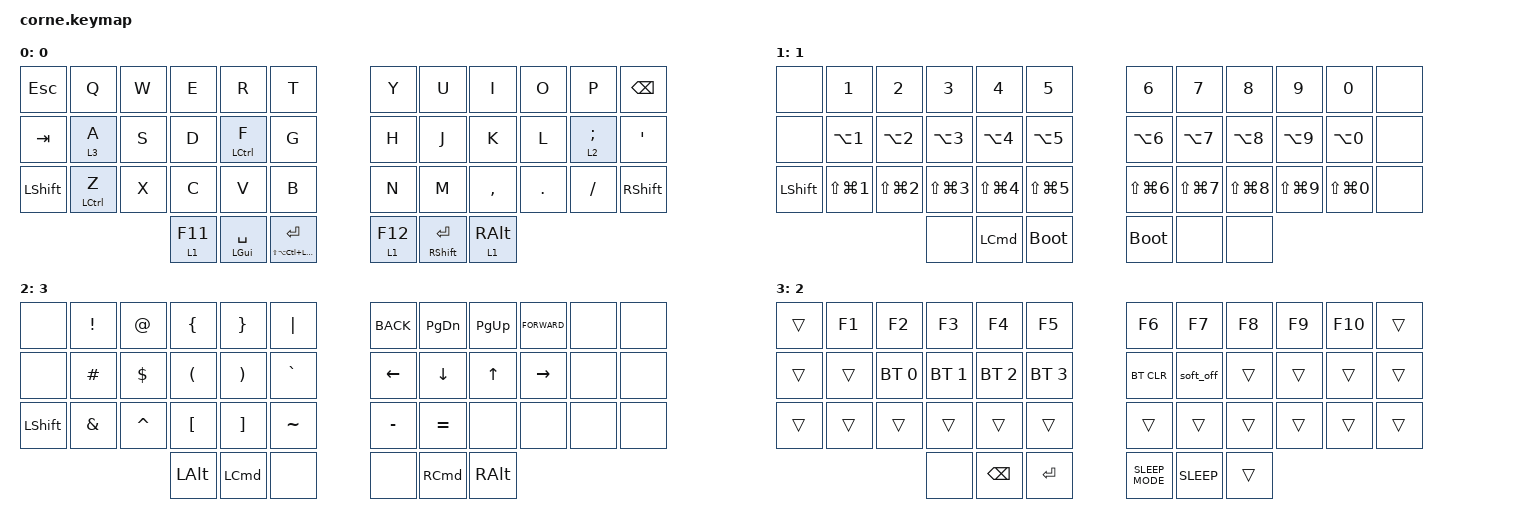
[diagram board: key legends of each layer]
/*
 * Copyright (c) 2020 The ZMK Contributors
 *
 * SPDX-License-Identifier: MIT
 */

#include <behaviors.dtsi>
#include <dt-bindings/zmk/bt.h>
#include <dt-bindings/zmk/keys.h>

#define DEFAULT_L 0
#define SYMBOLS_L 1
#define ARROWS_L  2
#define NUMBERS_L 3

/ {
    behaviors {
        hm: homerow_mods {
            compatible = "zmk,behavior-hold-tap";
            label = "HOMEROW_MODS";
            #binding-cells = <2>;
            tapping-term-ms = <300>;
            quick-tap-ms = <200>;
            flavor = "tap-preferred";
            bindings = <&kp>, <&kp>;
        };
    };

    combos {
        compatible = "zmk,combos";

        esc {
            bindings = <&kp ESC>;
            key-positions = <1 2>;
        };

        enter {
            bindings = <&kp ENTER>;
            key-positions = <3 4>;
        };

        copy {
            bindings = <&kp RG(C)>;
            key-positions = <26 27>;
        };

        paste {
            bindings = <&kp RG(V)>;
            key-positions = <27 28>;
        };

        raycast {
            bindings = <&kp LG(SPACE)>;
            key-positions = <16 15>;
        };

        tab {
            bindings = <&kp TAB>;
            key-positions = <13 14>;
        };
    };

    keymap {
        compatible = "zmk,keymap";

        default_layer {
            label = "0";
            bindings = <
&kp ESC         &kp Q               &kp W  &kp E      &kp R               &kp T                                 &kp Y      &kp U                  &kp I            &kp O    &kp P       &kp BSPC
&kp TAB         &lt 3 A             &kp S  &kp D      &mt LEFT_CONTROL F  &kp G                                 &kp H      &kp J                  &kp K            &kp L    &lt 2 SEMI  &kp SQT
&kp LEFT_SHIFT  &mt LEFT_CONTROL Z  &kp X  &kp C      &kp V               &kp B                                 &kp N      &kp M                  &kp COMMA        &kp DOT  &kp FSLH    &kp RSHFT
                                           &lt 1 F11  &mt LEFT_GUI SPACE  &mt LS(LA(LC(LEFT_COMMAND))) ENTER    &lt 1 F12  &mt RIGHT_SHIFT ENTER  &lt 1 RIGHT_ALT
            >;
        };

        number_layer {
            label = "1";
            bindings = <
&none           &kp N1          &kp N2          &kp N3          &kp N4            &kp N5            &kp N6          &kp N7          &kp N8          &kp N9          &kp N0          &none
&none           &kp LA(N1)      &kp LA(N2)      &kp LA(N3)      &kp LA(N4)        &kp LA(N5)        &kp LA(N6)      &kp LA(N7)      &kp LA(N8)      &kp LA(N9)      &kp LA(N0)      &none
&kp LEFT_SHIFT  &kp LS(LG(N1))  &kp LS(LG(N2))  &kp LS(LG(N3))  &kp LS(LG(N4))    &kp LS(LG(N5))    &kp LS(LG(N6))  &kp LS(LG(N7))  &kp LS(LG(N8))  &kp LS(LG(N9))  &kp LS(LG(N0))  &none
                                                &none           &kp LEFT_COMMAND  &bootloader       &bootloader     &none           &none
            >;
        };

        arrow_layer {
            label = "3";
            bindings = <
&none           &kp EXCLAMATION  &kp AT_SIGN  &kp LEFT_BRACE  &kp RIGHT_BRACE        &kp PIPE     &kp K_BACK  &kp PAGE_DOWN      &kp PAGE_UP    &kp K_FORWARD  &none  &none
&none           &kp HASH         &kp DOLLAR   &kp LPAR        &kp RIGHT_PARENTHESIS  &kp GRAVE    &kp LEFT    &kp DOWN           &kp UP_ARROW   &kp RIGHT      &none  &none
&kp LEFT_SHIFT  &kp AMPS         &kp CARET    &kp LBKT        &kp RBKT               &kp TILDE    &kp MINUS   &kp EQUAL          &none          &none          &none  &none
                                              &kp LEFT_ALT    &kp LEFT_COMMAND       &none        &none       &kp RIGHT_COMMAND  &kp RIGHT_ALT
            >;
        };

        control_layer {
            label = "2";
            bindings = <
&trans  &kp F1  &kp F2        &kp F3        &kp F4        &kp F5          &kp F6            &kp F7       &kp F8  &kp F9  &kp F10  &trans
&trans  &trans  &bt BT_SEL 0  &bt BT_SEL 1  &bt BT_SEL 2  &bt BT_SEL 3    &bt BT_CLR        &soft_off    &trans  &trans  &trans   &trans
&trans  &trans  &trans        &trans        &trans        &trans          &trans            &trans       &trans  &trans  &trans   &trans
                              &none         &kp BSPC      &kp ENTER       &kp C_SLEEP_MODE  &kp C_SLEEP  &trans
            >;
        };
    };
};
